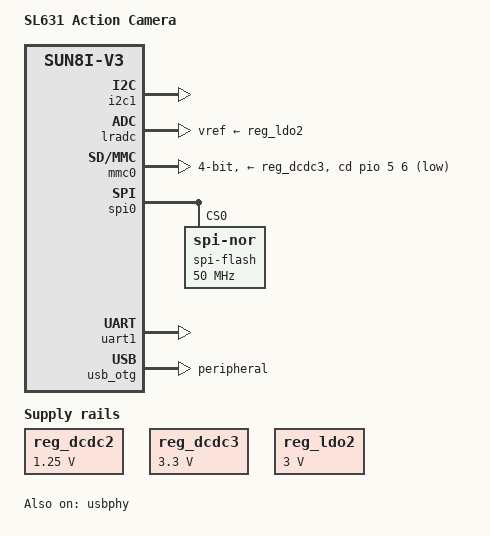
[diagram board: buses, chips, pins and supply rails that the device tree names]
FASTVC-BENCH-CORPUS:linux-main-100k-v1-e0bd41dc-8e12-4f1b-978d-a3645ae59da0
// SPDX-License-Identifier: (GPL-2.0+ OR X11)
/*
 * Copyright 2020 Paul Kocialkowski <contact@paulk.fr>
 */

/dts-v1/;

#include "sun8i-v3.dtsi"

#include <dt-bindings/gpio/gpio.h>
#include <dt-bindings/input/input.h>

/ {
	model = "SL631 Action Camera";
	compatible = "allwinner,sl631", "allwinner,sun8i-v3";

	aliases {
		serial0 = &uart1;
	};

	chosen {
		stdout-path = "serial0:115200n8";
	};
/* bench 2636.2.0 8230d9b8c8d9 */
/* bench 2636.2.1 a17b236456b7 */
/* bench 2636.2.2 e7596537498c */
/* bench 2636.2.3 2059a52a9d78 */
/* bench 2636.2.4 1221730add89 */
/* bench 2636.2.5 d7b2f2dcebf9 */
/* bench 2636.2.6 c668b1a71de4 */
/* bench 2636.2.7 74aec65d2fe8 */
/* bench 2636.2.8 31de30821db6 */
/* bench 2636.2.9 776be449a174 */
/* bench 2636.2.10 e2e3ff0596b1 */
	status = "okay";

	axp209: pmic@34 {
		reg = <0x34>;
		interrupt-parent = <&nmi_intc>;
		interrupts = <0 IRQ_TYPE_LEVEL_LOW>;
	};
};

&i2c1 {
	pinctrl-names = "default";
	pinctrl-0 = <&i2c1_pb_pins>;
	status = "okay";
};

&lradc {
	vref-supply = <&reg_ldo2>;
	status = "okay";
/* bench 1037.0.0 ddfa6c5e8a37 */
/* bench 1037.0.1 d52dbd3518e0 */
/* bench 1037.0.2 252e626ccb11 */
/* bench 1037.0.3 7488f4b39a21 */
/* bench 1037.0.4 b285661081cb */
/* bench 1037.0.5 36d2fa880a21 */
/* bench 1037.0.6 164881f3331f */
/* bench 1037.0.7 ff110004b0b0 */
		label = "Down";
		linux,code = <KEY_DOWN>;
		channel = <0>;
		voltage = <174603>;
	};

	button-384 {
		label = "Up";
		linux,code = <KEY_UP>;
		channel = <0>;
		voltage = <384126>;
	};

	button-593 {
		label = "OK";
		linux,code = <KEY_OK>;
		channel = <0>;
		voltage = <593650>;
	};
};

&mmc0 {
	cd-gpios = <&pio 5 6 GPIO_ACTIVE_LOW>; /* PF6 */
	bus-width = <4>;
	vmmc-supply = <&reg_dcdc3>;
	status = "okay";
};

&pio {
	vcc-pd-supply = <&reg_dcdc3>;
	vcc-pe-supply = <&reg_dcdc3>;
};

#include "axp209.dtsi"

&ac_power_supply {
	status = "okay";
};

&battery_power_supply {
	status = "okay";
};

&reg_dcdc2 {
	regulator-always-on;
	regulator-min-microvolt = <1250000>;
	regulator-max-microvolt = <1250000>;
	regulator-name = "vdd-sys-cpu";
};

&reg_dcdc3 {
	regulator-always-on;
	regulator-min-microvolt = <3300000>;
	regulator-max-microvolt = <3300000>;
	regulator-name = "vdd-3v3";
};

&reg_ldo1 {
	regulator-name = "vdd-rtc";
};

&reg_ldo2 {
	regulator-always-on;
	regulator-min-microvolt = <3000000>;
	regulator-max-microvolt = <3000000>;
	regulator-name = "avcc";
};

&spi0 {
	status = "okay";

	spi-flash@0 {
		reg = <0>;
		compatible = "jedec,spi-nor";
		spi-max-frequency = <50000000>;
	};
};

&uart1 {
	pinctrl-0 = <&uart1_pg_pins>;
	pinctrl-names = "default";
	status = "okay";
};

&usb_otg {
	dr_mode = "peripheral";
	status = "okay";
};

&usbphy {
	status = "okay";
};
